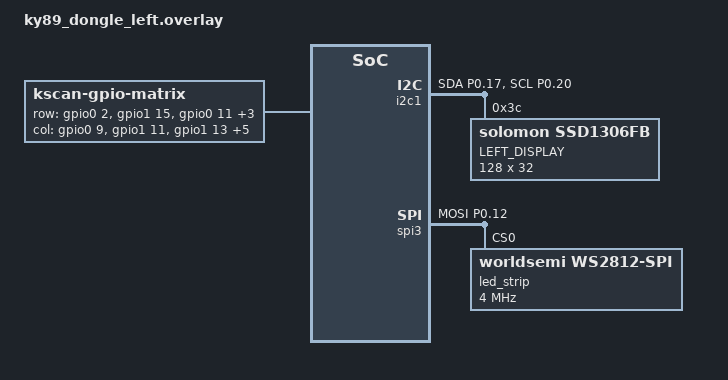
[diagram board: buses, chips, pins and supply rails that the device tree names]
/*
 * Copyright (c) 2023 The ZMK Contributors
 *
 * SPDX-License-Identifier: MIT
 */

#include "ky89_dongle.dtsi"
#include <dt-bindings/led/led.h>

&pinctrl {
    // Other pinctrl definitions for other hardware
    
    spi3_default: spi3_default {
        group1 {
            psels = <NRF_PSEL(SPIM_MOSI, 0, 12)>;
        };
    };

    spi3_sleep: spi3_sleep {
        group1 {
            psels = <NRF_PSEL(SPIM_MOSI, 0, 12)>;
            low-power-enable;
        };
    };

    i2c1_default: i2c1_default {
        group1 {
            psels = <NRF_PSEL(TWIM_SDA, 0, 17)>,
                    <NRF_PSEL(TWIM_SCL, 0, 20)>;
        };
    };

    i2c1_sleep: i2c1_sleep {
        group1 {
            psels = <NRF_PSEL(TWIM_SDA, 0, 17)>,
                    <NRF_PSEL(TWIM_SCL, 0, 20)>;
            low-power-enable;
        };
    };
};

&i2c1 {
	status = "okay";
	//compatible = "nordic,nrf-twi";
	pinctrl-0 = <&i2c1_default>;
	pinctrl-1 = <&i2c1_sleep>;
	pinctrl-names = "default", "sleep";
    
	oled1: ssd1306@3c {
		// 分辨率修改
        width = <128>;
		height = <32>;

        // 0.91或0.96，使用以下
        compatible = "solomon,ssd1306fb";   //0.91   0.96
        segment-offset = <0>;   //0.91   0.96
        multiplex-ratio = <31>; //128*32
        com-sequential; //1.30注销本行
        label = "LEFT_DISPLAY";

        // 1.30，使用以下
        //compatible = "sinowealth,sh1106";   //1.30
        //segment-offset = <2>;   //1.30
		//multiplex-ratio = <63>; //128*64
        //label = "Dongle_DISPLAY";

		reg = <0x3c>;
		page-offset = <0>;
		display-offset = <0>;
		segment-remap;
		com-invdir;
        inversion-on;   // 翻转颜色
		prechargep = <0x22>;
	};
};

&spi3 {
    compatible = "nordic,nrf-spim";
    status = "okay";

    pinctrl-0 = <&spi3_default>;
    pinctrl-1 = <&spi3_sleep>;
    pinctrl-names = "default", "sleep";

    led_strip: ws2812@0 {
        compatible = "worldsemi,ws2812-spi";

        /* SPI */
        reg = <0>; /* ignored, but necessary for SPI bindings */
        spi-max-frequency = <4000000>;

        /* WS2812 */
        chain-length = <88>; /* arbitrary; change at will */
        spi-one-frame = <0x70>;
        spi-zero-frame = <0x40>;
        color-mapping = <LED_COLOR_ID_GREEN LED_COLOR_ID_RED LED_COLOR_ID_BLUE>;
    };
};

/ {
    chosen {
        zmk,kscan = &kscan;
        zephyr,display = &oled1;
        zmk,underglow = &led_strip;
    };

    kscan: kscan {
        compatible = "zmk,kscan-gpio-matrix";
        wakeup-source;

        diode-direction = "col2row";

        row-gpios
            = <&gpio0  2 (GPIO_PULL_DOWN | GPIO_ACTIVE_HIGH)>
            , <&gpio1 15 (GPIO_PULL_DOWN | GPIO_ACTIVE_HIGH)>
            , <&gpio0 11 (GPIO_PULL_DOWN | GPIO_ACTIVE_HIGH)>
            , <&gpio1  0 (GPIO_PULL_DOWN | GPIO_ACTIVE_HIGH)>
            , <&gpio0 24 (GPIO_PULL_DOWN | GPIO_ACTIVE_HIGH)>
            , <&gpio0 22 (GPIO_PULL_DOWN | GPIO_ACTIVE_HIGH)>
            ;

        col-gpios
            = <&gpio0  9 GPIO_ACTIVE_HIGH>
            , <&gpio1 11 GPIO_ACTIVE_HIGH>
            , <&gpio1 13 GPIO_ACTIVE_HIGH>
            , <&gpio0 29 GPIO_ACTIVE_HIGH>
            , <&gpio0 31 GPIO_ACTIVE_HIGH>
            , <&gpio1  6 GPIO_ACTIVE_HIGH>
            , <&gpio1  4 GPIO_ACTIVE_HIGH>
            , <&gpio0 10 GPIO_ACTIVE_HIGH>
            ;
    };

};


